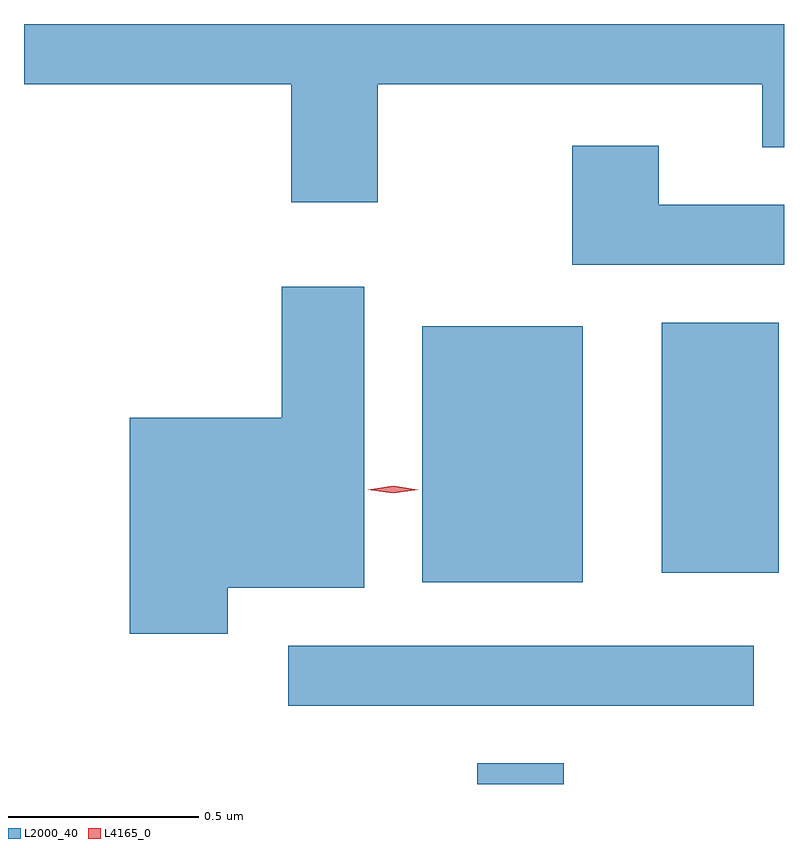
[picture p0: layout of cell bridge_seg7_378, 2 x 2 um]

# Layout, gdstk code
import gdstk
lib = gdstk.Library(unit=1e-6, precision=1e-09)
def R(c, l, rs):  # rectangles x0, y0, x1, y1
    for r in rs: c.add(gdstk.rectangle(r[:2], r[2:], *l))
def P(c, l, *ps):  # polygons
    for p in ps: c.add(gdstk.Polygon(p, *l))
L2000_40 = (2000, 40)
L4165_0 = (4165, 0)

bridge_seg7_378 = lib.new_cell('bridge_seg7_378')
R(bridge_seg7_378, L2000_40, [(1183.361,1743.555,1183.589,1743.609), (1182.863,1743.761,1184.088,1743.919), (1183.216,1744.086,1183.639,1744.759), (1183.846,1744.111,1184.154,1744.769)])
P(bridge_seg7_378, L2000_40, [(1183.099,1745.396),(1184.111,1745.396),(1184.111,1745.231),(1184.168,1745.231),(1184.168,1745.555),(1182.168,1745.555),(1182.168,1745.396),(1182.871,1745.396),(1182.871,1745.086),(1183.099,1745.086)],
  [(1184.168,1745.079),(1183.839,1745.079),(1183.839,1745.234),(1183.611,1745.234),(1183.611,1744.921),(1184.168,1744.921)],
  [(1182.704,1744.071),(1183.064,1744.071),(1183.064,1744.864),(1182.846,1744.864),(1182.846,1744.519),(1182.446,1744.519),(1182.446,1743.951),(1182.704,1743.951)])
P(bridge_seg7_378, L4165_0, [(1183.14,1744.32),(1183.073,1744.329),(1183.073,1744.33),(1183.073,1744.33),(1183.14,1744.34),(1183.206,1744.33),(1183.206,1744.33),(1183.206,1744.329)])

lib.write_gds('bridge_seg7_378.gds')
